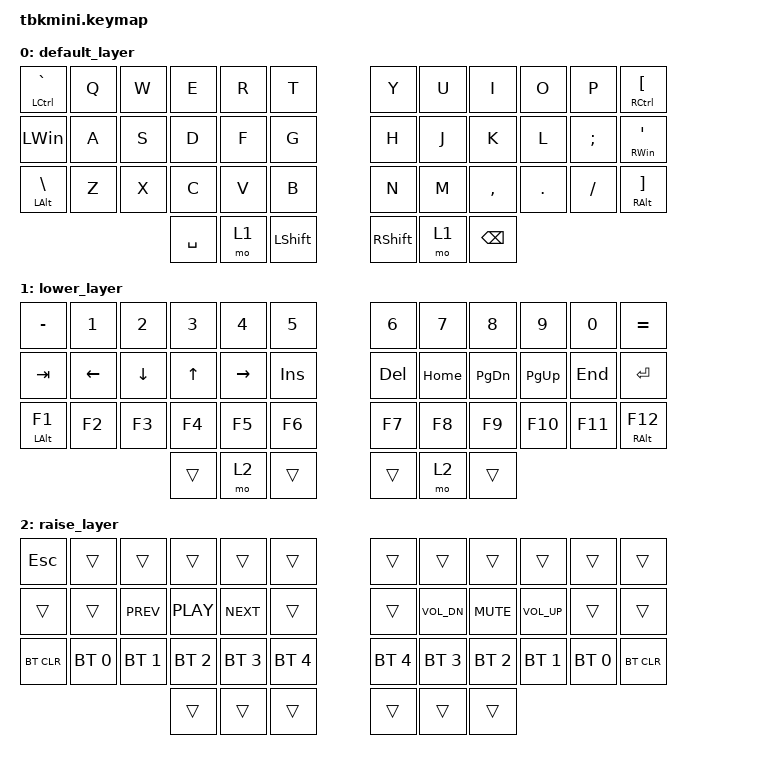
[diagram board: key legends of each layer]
#include <behaviors.dtsi>
#include <dt-bindings/zmk/bt.h>
#include <dt-bindings/zmk/keys.h>

#define DEFAULT 0
#define NUM 1
#define SYM 2

&lt {
    tapping-term-ms = <300>;
    quick_tap_ms = <200>;
    flavor = "hold-preferred";
};

&caps_word { continue-list = <UNDERSCORE MINUS BACKSPACE DELETE>; };

/ {
    chosen { zmk,matrix_transform = &default_transform; };

    keymap {
        compatible = "zmk,keymap";

        default_layer {
            bindings = <
&mt LCTRL GRAVE  &kp Q  &kp W  &kp E      &kp R  &kp T         &kp Y       &kp U  &kp I      &kp O    &kp P     &mt RCTRL LBKT
&kp LWIN         &kp A  &kp S  &kp D      &kp F  &kp G         &kp H       &kp J  &kp K      &kp L    &kp SEMI  &mt RWIN SQT
&mt LALT BSLH    &kp Z  &kp X  &kp C      &kp V  &kp B         &kp N       &kp M  &kp COMMA  &kp DOT  &kp FSLH  &mt RALT RBKT
                               &kp SPACE  &mo 1  &kp LSHIFT    &kp RSHIFT  &mo 1  &kp BSPC
            >;
        };

        lower_layer {
            bindings = <
&kp MINUS    &kp N1    &kp N2    &kp N3  &kp N4     &kp N5     &kp N6   &kp N7    &kp N8     &kp N9     &kp N0   &kp EQUAL
&kp TAB      &kp LEFT  &kp DOWN  &kp UP  &kp RIGHT  &kp INS    &kp DEL  &kp HOME  &kp PG_DN  &kp PG_UP  &kp END  &kp RET
&mt LALT F1  &kp F2    &kp F3    &kp F4  &kp F5     &kp F6     &kp F7   &kp F8    &kp F9     &kp F10    &kp F11  &mt RALT F12
                                 &trans  &mo 2      &trans     &trans   &mo 2     &trans
            >;
        };

        raise_layer {
            bindings = <
&kp ESC     &trans        &trans        &trans        &trans        &trans          &trans        &trans        &trans        &trans        &trans        &trans
&trans      &trans        &kp C_PREV    &kp C_PLAY    &kp C_NEXT    &trans          &trans        &kp C_VOL_DN  &kp C_MUTE    &kp C_VOL_UP  &trans        &trans
&bt BT_CLR  &bt BT_SEL 0  &bt BT_SEL 1  &bt BT_SEL 2  &bt BT_SEL 3  &bt BT_SEL 4    &bt BT_SEL 4  &bt BT_SEL 3  &bt BT_SEL 2  &bt BT_SEL 1  &bt BT_SEL 0  &bt BT_CLR
                                        &trans        &trans        &trans          &trans        &trans        &trans
            >;
        };
    };
};
